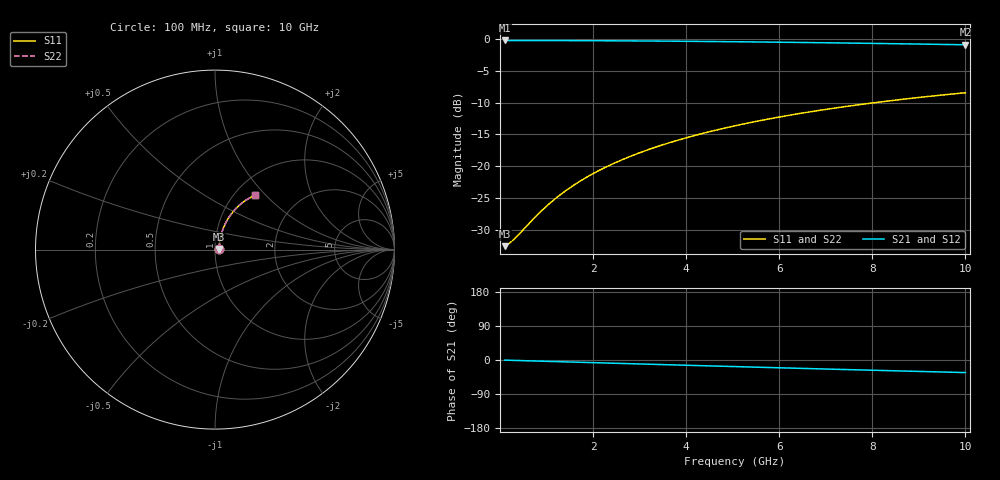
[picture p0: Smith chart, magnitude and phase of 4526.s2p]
# Hz S RI R 50.00
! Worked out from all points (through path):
!   100 points, 100 MHz to 10 GHz, reference 50 ohm
!   highest |S21| = -0.20 dB at 100 MHz (marker M1); lowest = -0.9 dB at 10 GHz (marker M2)
!   group delay of S21, straight-line fit = 9.25 ps
!   lowest |S11| = -32.6 dB at 100 MHz (marker M3), VSWR 1.05, Z = 52.4 + j0.427 ohm
!   |S11| at or under -10 dB: start of sweep to 8.061 GHz
!   |S22| runs from -32.6 to -8.4 dB; largest |S21 - S12| = 0
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1e8  0.023 0.00407  0.977 -0.00596  0.977 -0.00596  0.023 0.00407
2e8  0.0232 0.00814  0.9768 -0.0119  0.9768 -0.0119  0.0232 0.00814
3e8  0.0235 0.0122  0.9765 -0.0179  0.9765 -0.0179  0.0235 0.0122
8e8  0.0252 0.0325  0.9747 -0.0476  0.9747 -0.0476  0.0252 0.0325
1.1e9  0.0267 0.0446  0.973 -0.0653  0.973 -0.0653  0.0267 0.0446
1.4e9  0.0287 0.0566  0.9709 -0.083  0.9709 -0.083  0.0287 0.0566
1.6e9  0.0302 0.0645  0.9693 -0.0947  0.9693 -0.0947  0.0302 0.0645
1.8e9  0.032 0.0724  0.9674 -0.1064  0.9674 -0.1064  0.032 0.0724
2.1e9  0.0349 0.0842  0.9643 -0.1238  0.9643 -0.1238  0.0349 0.0842
2.5e9  0.0395 0.0996  0.9594 -0.1468  0.9594 -0.1468  0.0395 0.0996
2.9e9  0.0447 0.1148  0.9537 -0.1695  0.9537 -0.1695  0.0447 0.1148
3.4e9  0.0523 0.1332  0.9456 -0.1975  0.9456 -0.1975  0.0523 0.1332
3.8e9  0.0591 0.1476  0.9382 -0.2194  0.9382 -0.2194  0.0591 0.1476
4.2e9  0.0666 0.1616  0.9302 -0.241  0.9302 -0.241  0.0666 0.1616
4.6e9  0.0746 0.1751  0.9215 -0.2621  0.9215 -0.2621  0.0746 0.1751
5.1e9  0.0855 0.1913  0.9097 -0.2878  0.9097 -0.2878  0.0855 0.1913
5.9e9  0.1046 0.2156  0.889 -0.3274  0.889 -0.3274  0.1046 0.2156
6.7e9  0.1255 0.2377  0.8662 -0.3648  0.8662 -0.3648  0.1255 0.2377
7.5e9  0.1481 0.2575  0.8415 -0.3999  0.8415 -0.3999  0.1481 0.2575
8.4e9  0.1749 0.277  0.812 -0.4366  0.812 -0.4366  0.1749 0.277
9.2e9  0.1998 0.2916  0.7845 -0.4668  0.7845 -0.4668  0.1998 0.2916
1e10  0.2253 0.3039  0.756 -0.4945  0.756 -0.4945  0.2253 0.3039
